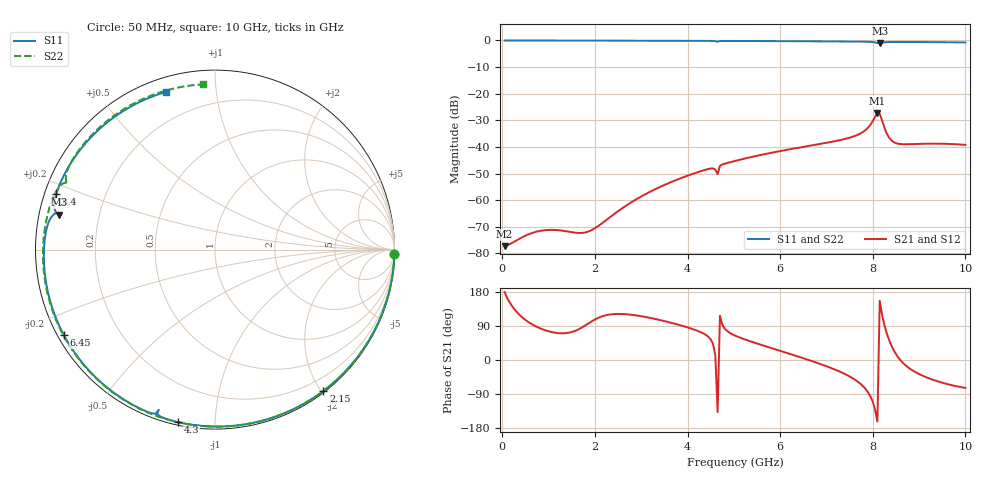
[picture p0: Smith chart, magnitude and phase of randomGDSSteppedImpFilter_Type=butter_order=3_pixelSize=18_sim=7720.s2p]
! freq	dB(S11)	phase(S11)	dB(S12)	phase(S12)
!  dB(S21)	phase(S21)	dB(S22)	phase(S22)
!S-par simulation data
#  GHz  S  DB  R 50
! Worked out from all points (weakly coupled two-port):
!   200 points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, 50 MHz to 10 GHz, reference 50 ohm
!   highest |S21| = -27.23 dB at 8.1 GHz (marker M1); lowest = -77.3 dB at 50 MHz (marker M2)
!   lowest |S11| = -1.0 dB at 8.15 GHz (marker M3), VSWR 16.87, Z = 3 + j5.53 ohm
!   |S11| at or under -10 dB: nowhere
!   |S22| runs from -0.9 to 0.0 dB; largest |S21 - S12| = 0
!   S11 on the Smith chart (normalised r, x): 50 MHz: 0, -92; 2.15 GHz: 0.02, -2.03; 4.3 GHz: 0.01, -0.81; 6.45 GHz: 0.02, -0.26; 8.4 GHz: 0.03, +0.17; 10 GHz: 0.06, +0.74
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0.05  -0.00 -1.3  -77.31 179.3  -77.31 179.3  -0.00 -1.4
0.85  -0.02 -21.1  -71.46 81.9  -71.46 81.9  -0.03 -23.1
1.75  -0.05 -43.0  -72.27 88.0  -72.27 88.0  -0.06 -46.8
2.15  -0.07 -52.5  -68.76 115.0  -68.76 115.0  -0.07 -57.1
2.75  -0.09 -66.6  -61.21 119.9  -61.21 119.9  -0.09 -72.2
3.4  -0.11 -81.6  -55.10 105.6  -55.10 105.6  -0.12 -88.1
4.3  -0.15 -102.0  -49.06 72.6  -49.06 72.6  -0.15 -109.5
4.55  -0.19 -108.0  -48.06 42.7  -48.06 42.7  -0.17 -115.4
4.65  -0.48 -109.4  -50.18 -137.3  -50.18 -137.3  -0.18 -117.7
4.7  -0.24 -109.9  -47.13 117.0  -47.13 117.0  -0.18 -118.8
5.05  -0.19 -118.4  -45.18 63.1  -45.18 63.1  -0.19 -127.0
6.45  -0.29 -150.4  -40.14 6.7  -40.14 6.7  -0.29 -160.1
6.7  -0.31 -156.3  -39.38 -3.4  -39.38 -3.4  -0.32 -166.3
7.7  -0.43 178.2  -35.25 -59.5  -35.25 -59.5  -0.43 167.4
7.9  -0.50 172.3  -32.75 -85.6  -32.75 -85.6  -0.48 161.5
8.1  -0.96 166.7  -27.23 -162.5  -27.23 -162.5  -0.86 155.5
8.15  -1.03 167.3  -27.57 156.4  -27.57 156.4  -0.93 155.7
8.35  -0.58 162.3  -36.48 53.7  -36.48 53.7  -0.57 150.6
8.4  -0.57 160.7  -37.53 38.8  -37.53 38.8  -0.56 148.9
8.6  -0.55 154.4  -38.94 -0.9  -38.94 -0.9  -0.55 142.5
9.2  -0.62 135.3  -38.79 -47.7  -38.79 -47.7  -0.60 122.8
10  -0.73 107.2  -39.26 -73.7  -39.26 -73.7  -0.70 94.0
